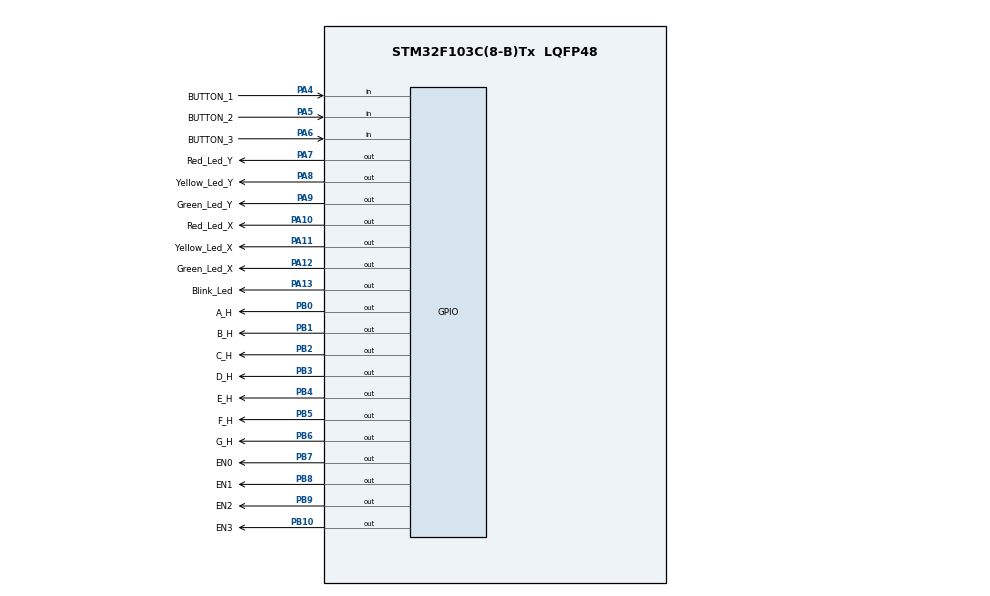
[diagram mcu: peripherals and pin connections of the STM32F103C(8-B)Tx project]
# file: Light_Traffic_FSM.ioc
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Mcu.Family=STM32F1
Mcu.Name=STM32F103C(8-B)Tx
Mcu.Package=LQFP48
NVIC.PriorityGroup=NVIC_PRIORITYGROUP_4
NVIC.TIM2_IRQn=true\:0\:0\:false\:false\:true\:true\:true\:true
PA10.GPIO_Label=Red_Led_X
PA10.Signal=GPIO_Output
PA11.GPIO_Label=Yellow_Led_X
PA11.Signal=GPIO_Output
PA12.GPIO_Label=Green_Led_X
PA12.Signal=GPIO_Output
PA13.GPIO_Label=Blink_Led
PA13.Signal=GPIO_Output
PA4.GPIO_Label=BUTTON_1
PA4.GPIO_PuPd=GPIO_PULLUP
PA4.Signal=GPIO_Input
PA5.GPIO_Label=BUTTON_2
PA5.GPIO_PuPd=GPIO_PULLUP
PA5.Signal=GPIO_Input
PA6.GPIO_Label=BUTTON_3
PA6.GPIO_PuPd=GPIO_PULLUP
PA6.Signal=GPIO_Input
PA7.GPIO_Label=Red_Led_Y
PA7.Signal=GPIO_Output
PA8.GPIO_Label=Yellow_Led_Y
PA8.Signal=GPIO_Output
PA9.GPIO_Label=Green_Led_Y
PA9.Signal=GPIO_Output
PB0.GPIO_Label=A_H
PB0.Signal=GPIO_Output
PB1.GPIO_Label=B_H
PB1.Signal=GPIO_Output
PB10.GPIO_Label=EN3
PB10.Signal=GPIO_Output
PB2.GPIO_Label=C_H
PB2.Signal=GPIO_Output
PB3.GPIO_Label=D_H
PB3.Signal=GPIO_Output
PB4.GPIO_Label=E_H
PB4.Signal=GPIO_Output
PB5.GPIO_Label=F_H
PB5.Signal=GPIO_Output
PB6.GPIO_Label=G_H
PB6.Signal=GPIO_Output
PB7.GPIO_Label=EN0
PB7.Signal=GPIO_Output
PB8.GPIO_Label=EN1
PB8.Signal=GPIO_Output
PB9.GPIO_Label=EN2
PB9.Signal=GPIO_Output
ProjectManager.HeapSize=0x200
ProjectManager.StackSize=0x400
ProjectManager.TargetToolchain=STM32CubeIDE
RCC.APB1Freq_Value=8000000
RCC.APB2Freq_Value=8000000
TIM2.Period=9
TIM2.Prescaler=7999
VP_SYS_VS_ND.Mode=No_Debug
VP_TIM2_VS_ClockSourceINT.Mode=Internal
board=custom

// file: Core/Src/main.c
/* USER CODE BEGIN Header */
/**
  ******************************************************************************
  * @file           : main.c
  * @brief          : Main program body
  ******************************************************************************
  * @attention
  *
  * Copyright (c) 2025 STMicroelectronics.
  * All rights reserved.
  *
  * This software is licensed under terms that can be found in the LICENSE file
  * in the root directory of this software component.
  * If no LICENSE file comes with this software, it is provided AS-IS.
  *
  ******************************************************************************
  */
/* USER CODE END Header */
#include "main.h"

/* USER CODE BEGIN Includes */
#include "global.h"
#include "fsm_automatic.h"
#include "fsm_manual.h"
#include "fsm_setting.h"
/* USER CODE END Includes */

TIM_HandleTypeDef htim2;

void SystemClock_Config(void);
static void MX_GPIO_Init(void);
static void MX_TIM2_Init(void);

int main(void)
{

  /* MCU Configuration--------------------------------------------------------*/

  /* Reset of all peripherals, Initializes the Flash interface and the Systick. */
  HAL_Init();

  /* Configure the system clock */
  SystemClock_Config();

  /* Initialize all configured peripherals */
  MX_GPIO_Init();
  MX_TIM2_Init();
  /* USER CODE BEGIN 2 */
  HAL_TIM_Base_Start_IT(&htim2);

  setTimer(BLINK, 500);

  status = INIT;
  red_duration = 5;
  yellow_duration = 2;
  green_duration = 3;

  /* USER CODE END 2 */

  /* Infinite loop */
  while (1)
  {

    /* USER CODE BEGIN 3 */
	  if (flag_timer[BLINK]) {
		  unittest_blink();
		  setTimer(BLINK, 500);
	  }
	  fsm_automatic_run();
	  fsm_manual_run();
	  fsm_setting_run();
  }
  /* USER CODE END 3 */
}

void SystemClock_Config(void)
{
  RCC_OscInitTypeDef RCC_OscInitStruct = {0};
  RCC_ClkInitTypeDef RCC_ClkInitStruct = {0};

  /** Initializes the RCC Oscillators according to the specified parameters
  * in the RCC_OscInitTypeDef structure.
  */
  RCC_OscInitStruct.OscillatorType = RCC_OSCILLATORTYPE_HSI;
  RCC_OscInitStruct.HSIState = RCC_HSI_ON;
  RCC_OscInitStruct.HSICalibrationValue = RCC_HSICALIBRATION_DEFAULT;
  RCC_OscInitStruct.PLL.PLLState = RCC_PLL_NONE;
  if (HAL_RCC_OscConfig(&RCC_OscInitStruct) != HAL_OK)
  {
    Error_Handler();
  }

  /** Initializes the CPU, AHB and APB buses clocks
  */
  RCC_ClkInitStruct.ClockType = RCC_CLOCKTYPE_HCLK|RCC_CLOCKTYPE_SYSCLK
                              |RCC_CLOCKTYPE_PCLK1|RCC_CLOCKTYPE_PCLK2;
  RCC_ClkInitStruct.SYSCLKSource = RCC_SYSCLKSOURCE_HSI;
  RCC_ClkInitStruct.AHBCLKDivider = RCC_SYSCLK_DIV1;
  RCC_ClkInitStruct.APB1CLKDivider = RCC_HCLK_DIV1;
  RCC_ClkInitStruct.APB2CLKDivider = RCC_HCLK_DIV1;

  if (HAL_RCC_ClockConfig(&RCC_ClkInitStruct, FLASH_LATENCY_0) != HAL_OK)
  {
    Error_Handler();
  }
}

static void MX_TIM2_Init(void)
{

  TIM_ClockConfigTypeDef sClockSourceConfig = {0};
  TIM_MasterConfigTypeDef sMasterConfig = {0};

  htim2.Instance = TIM2;
  htim2.Init.Prescaler = 7999;
  htim2.Init.CounterMode = TIM_COUNTERMODE_UP;
  htim2.Init.Period = 9;
  htim2.Init.ClockDivision = TIM_CLOCKDIVISION_DIV1;
  htim2.Init.AutoReloadPreload = TIM_AUTORELOAD_PRELOAD_DISABLE;
  if (HAL_TIM_Base_Init(&htim2) != HAL_OK)
  {
    Error_Handler();
  }
  sClockSourceConfig.ClockSource = TIM_CLOCKSOURCE_INTERNAL;
  if (HAL_TIM_ConfigClockSource(&htim2, &sClockSourceConfig) != HAL_OK)
  {
    Error_Handler();
  }
  sMasterConfig.MasterOutputTrigger = TIM_TRGO_RESET;
  sMasterConfig.MasterSlaveMode = TIM_MASTERSLAVEMODE_DISABLE;
  if (HAL_TIMEx_MasterConfigSynchronization(&htim2, &sMasterConfig) != HAL_OK)
  {
    Error_Handler();
  }

}

static void MX_GPIO_Init(void)
{
  GPIO_InitTypeDef GPIO_InitStruct = {0};

  /* GPIO Ports Clock Enable */
  __HAL_RCC_GPIOA_CLK_ENABLE();
  __HAL_RCC_GPIOB_CLK_ENABLE();

  /*Configure GPIO pin Output Level */
  HAL_GPIO_WritePin(GPIOA, Red_Led_Y_Pin|Yellow_Led_Y_Pin|Green_Led_Y_Pin|Red_Led_X_Pin
                          |Yellow_Led_X_Pin|Green_Led_X_Pin|Blink_Led_Pin, GPIO_PIN_RESET);

  /*Configure GPIO pin Output Level */
  HAL_GPIO_WritePin(GPIOB, A_H_Pin|B_H_Pin|C_H_Pin|EN3_Pin
                          |D_H_Pin|E_H_Pin|F_H_Pin|G_H_Pin
                          |EN0_Pin|EN1_Pin|EN2_Pin, GPIO_PIN_RESET);

  /*Configure GPIO pins : BUTTON_1_Pin BUTTON_2_Pin BUTTON_3_Pin */
  GPIO_InitStruct.Pin = BUTTON_1_Pin|BUTTON_2_Pin|BUTTON_3_Pin;
  GPIO_InitStruct.Mode = GPIO_MODE_INPUT;
  GPIO_InitStruct.Pull = GPIO_PULLUP;
  HAL_GPIO_Init(GPIOA, &GPIO_InitStruct);

  /*Configure GPIO pins : Red_Led_Y_Pin Yellow_Led_Y_Pin Green_Led_Y_Pin Red_Led_X_Pin
                           Yellow_Led_X_Pin Green_Led_X_Pin Blink_Led_Pin */
  GPIO_InitStruct.Pin = Red_Led_Y_Pin|Yellow_Led_Y_Pin|Green_Led_Y_Pin|Red_Led_X_Pin
                          |Yellow_Led_X_Pin|Green_Led_X_Pin|Blink_Led_Pin;
  GPIO_InitStruct.Mode = GPIO_MODE_OUTPUT_PP;
  GPIO_InitStruct.Pull = GPIO_NOPULL;
  GPIO_InitStruct.Speed = GPIO_SPEED_FREQ_LOW;
  HAL_GPIO_Init(GPIOA, &GPIO_InitStruct);

  /*Configure GPIO pins : A_H_Pin B_H_Pin C_H_Pin EN3_Pin
                           D_H_Pin E_H_Pin F_H_Pin G_H_Pin
                           EN0_Pin EN1_Pin EN2_Pin */
  GPIO_InitStruct.Pin = A_H_Pin|B_H_Pin|C_H_Pin|EN3_Pin
                          |D_H_Pin|E_H_Pin|F_H_Pin|G_H_Pin
                          |EN0_Pin|EN1_Pin|EN2_Pin;
  GPIO_InitStruct.Mode = GPIO_MODE_OUTPUT_PP;
  GPIO_InitStruct.Pull = GPIO_NOPULL;
  GPIO_InitStruct.Speed = GPIO_SPEED_FREQ_LOW;
  HAL_GPIO_Init(GPIOB, &GPIO_InitStruct);

}

/* USER CODE BEGIN 4 */
void HAL_TIM_PeriodElapsedCallback(TIM_HandleTypeDef *htim) {
	runTimer(BLINK);
	runTimer(LED7SEG);
	for (int i = 0; i < 3; i++) {
		getKeyInput();
	}
}

/* USER CODE END 4 */

void Error_Handler(void)
{
  __disable_irq();
  while (1)
  {
  }
}
